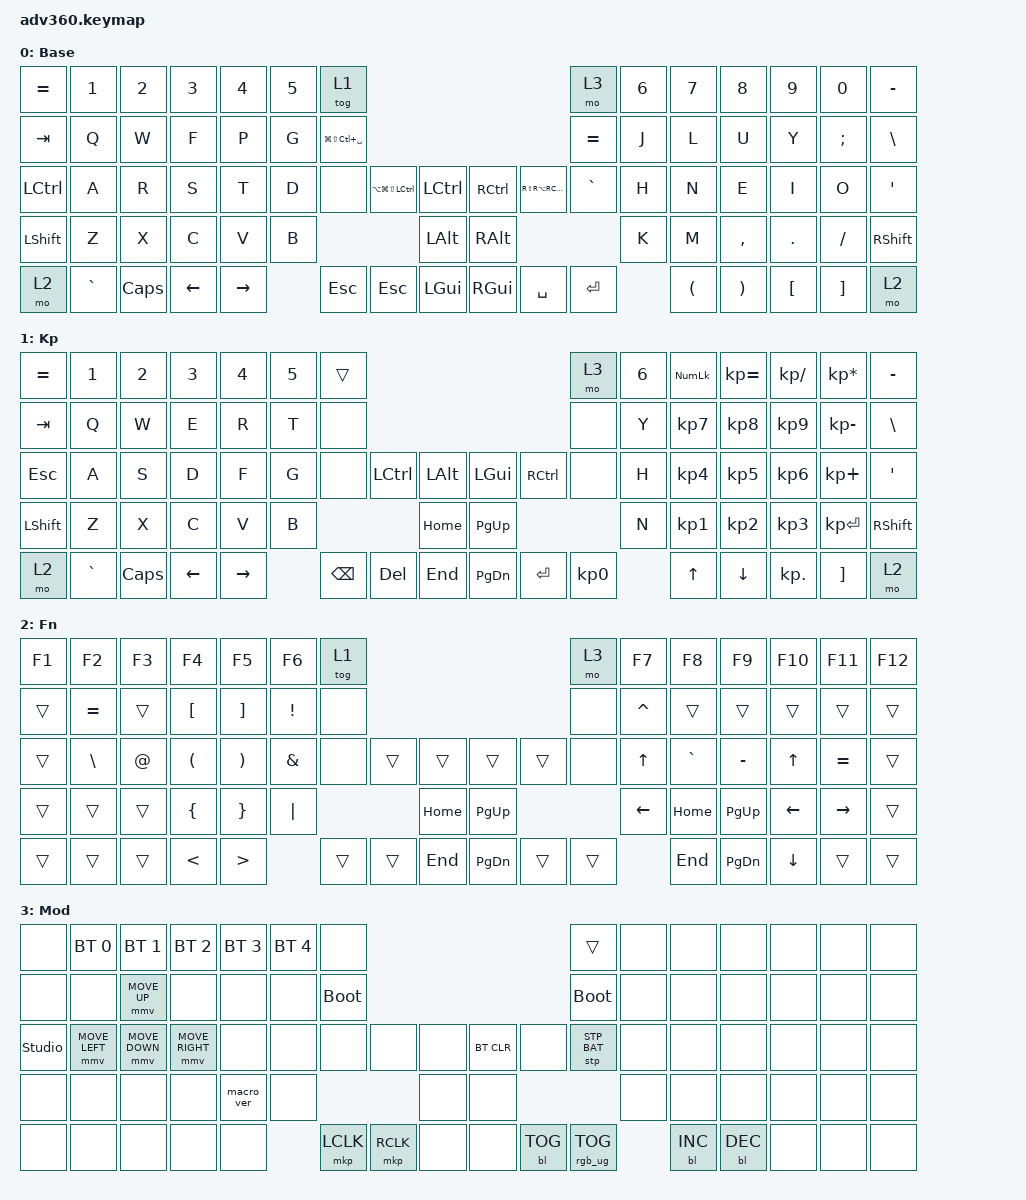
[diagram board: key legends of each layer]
#include <dt-bindings/zmk/stp.h>
#include <behaviors.dtsi>
#include <dt-bindings/zmk/backlight.h>
#include <dt-bindings/zmk/bt.h>
#include <dt-bindings/zmk/keys.h>
#include <dt-bindings/zmk/pointing.h>
#include <dt-bindings/zmk/rgb.h>

/ {
    behaviors {
        #include "macros.dtsi"
      #include "version.dtsi"

        hm: homerow_mods {
            compatible = "zmk,behavior-hold-tap";
            label = "HOMEROW_MODS";
            #binding-cells = <2>;
            tapping-term-ms = <200>;
            quick_tap_ms = <175>;
            flavor = "tap-preferred";
            bindings = <&kp>, <&kp>;
        };
    };

    macros {
        HYPER: HYPER {
            compatible = "zmk,behavior-macro";
            #binding-cells = <0>;
            bindings = <&none>, <&macro_press>;

            label = "HYPER";
        };
    };

    keymap {
        compatible = "zmk,keymap";

        default_layer {
            display-name = "Base";
            bindings = <
&kp EQUAL         &kp N1     &kp N2    &kp N3    &kp N4     &kp N5  &tog 1                                                                                                   &mo 3      &kp N6  &kp N7                &kp N8                 &kp N9    &kp N0         &kp MINUS
&kp TAB           &kp Q      &kp W     &kp F     &kp P      &kp G   &kp LG(LS(LC(SPACE)))                                                                                    &kp EQUAL  &kp J   &kp L                 &kp U                  &kp Y     &kp SEMICOLON  &kp BSLH
&kp LEFT_CONTROL  &kp A      &kp R     &kp S     &kp T      &kp D   &none                  &kp LA(LG(LS(LCTRL)))  &kp LCTRL         &kp RIGHT_CONTROL  &kp RS(RA(RC(RGUI)))  &kp GRAVE  &kp H   &kp N                 &kp E                  &kp I     &kp O          &kp SQT
&kp LSHFT         &kp Z      &kp X     &kp C     &kp V      &kp B                                                 &kp LEFT_ALT      &kp RIGHT_ALT                                       &kp K   &kp M                 &kp COMMA              &kp DOT   &kp SLASH      &kp RSHFT
&mo 2             &kp GRAVE  &kp CAPS  &kp LEFT  &kp RIGHT          &kp ESCAPE             &kp ESCAPE             &kp LEFT_GUI      &kp RIGHT_GUI      &kp SPACE             &kp ENTER          &kp LEFT_PARENTHESIS  &kp RIGHT_PARENTHESIS  &kp LBKT  &kp RBKT       &mo 2
            >;
        };

        keypad {
            display-name = "Kp";
            bindings = <
&kp EQUAL  &kp N1     &kp N2    &kp N3    &kp N4     &kp N5  &trans                                                   &mo 3      &kp N6  &kp KP_NUM  &kp KP_EQUAL  &kp KP_DIVIDE  &kp KP_MULTIPLY  &kp MINUS
&kp TAB    &kp Q      &kp W     &kp E     &kp R      &kp T   &none                                                    &none      &kp Y   &kp KP_N7   &kp KP_N8     &kp KP_N9      &kp KP_MINUS     &kp BSLH
&kp ESC    &kp A      &kp S     &kp D     &kp F      &kp G   &none     &kp LCTRL  &kp LALT      &kp LGUI   &kp RCTRL  &none      &kp H   &kp KP_N4   &kp KP_N5     &kp KP_N6      &kp KP_PLUS      &kp SQT
&kp LSHFT  &kp Z      &kp X     &kp C     &kp V      &kp B                        &kp HOME      &kp PG_UP                        &kp N   &kp KP_N1   &kp KP_N2     &kp KP_N3      &kp KP_ENTER     &kp RSHFT
&mo 2      &kp GRAVE  &kp CAPS  &kp LEFT  &kp RIGHT          &kp BSPC  &kp DEL    &kp END       &kp PG_DN  &kp ENTER  &kp KP_N0          &kp UP      &kp DOWN      &kp KP_DOT     &kp RBKT         &mo 2
            >;
        };

        fn {
            display-name = "Fn";
            bindings = <
&kp F1  &kp F2         &kp F3       &kp F4                &kp F5                 &kp F6           &tog 1                                               &mo 3   &kp F7          &kp F8     &kp F9         &kp F10         &kp F11          &kp F12
&trans  &kp EQUAL      &trans       &kp LEFT_BRACKET      &kp RIGHT_BRACKET      &kp EXCLAMATION  &none                                                &none   &kp CARET       &trans     &trans         &trans          &trans           &trans
&trans  &kp BACKSLASH  &kp AT_SIGN  &kp LEFT_PARENTHESIS  &kp RIGHT_PARENTHESIS  &kp AMPERSAND    &none   &trans  &trans        &trans         &trans  &none   &kp UP_ARROW    &kp GRAVE  &kp MINUS      &kp UP_ARROW    &kp EQUAL        &trans
&trans  &trans         &trans       &kp LEFT_BRACE        &kp RIGHT_BRACE        &kp PIPE                         &kp HOME      &kp PAGE_UP                    &kp LEFT_ARROW  &kp HOME   &kp PAGE_UP    &kp LEFT_ARROW  &kp RIGHT_ARROW  &trans
&trans  &trans         &trans       &kp LESS_THAN         &kp GREATER_THAN                        &trans  &trans  &kp END       &kp PAGE_DOWN  &trans  &trans                  &kp END    &kp PAGE_DOWN  &kp DOWN_ARROW  &trans           &trans
            >;
        };

        mod {
            display-name = "Mod";
            bindings = <
&none           &bt BT_SEL 0    &bt BT_SEL 1    &bt BT_SEL 2     &bt BT_SEL 3  &bt BT_SEL 4  &none                                                      &trans           &none  &none       &none       &none  &none  &none
&none           &none           &mmv MOVE_UP    &none            &none         &none         &bootloader                                                &bootloader      &none  &none       &none       &none  &none  &none
&studio_unlock  &mmv MOVE_LEFT  &mmv MOVE_DOWN  &mmv MOVE_RIGHT  &none         &none         &none        &none      &none      &bt BT_CLR  &none       &stp STP_BAT     &none  &none       &none       &none  &none  &none
&none           &none           &none           &none            &macro_ver    &none                                 &none      &none                                    &none  &none       &none       &none  &none  &none
&none           &none           &none           &none            &none                       &mkp LCLK    &mkp RCLK  &none      &none       &bl BL_TOG  &rgb_ug RGB_TOG         &bl BL_INC  &bl BL_DEC  &none  &none  &none
            >;
        };

        extra1 {
            display-name = "Red";
            status = "reserved";
        };

        extra2 {
            display-name = "Purple";
            status = "reserved";
        };

        extra3 {
            display-name = "Cyan";
            status = "reserved";
        };

        extra4 {
            display-name = "Yellow";
            status = "reserved";
        };
    };
};
